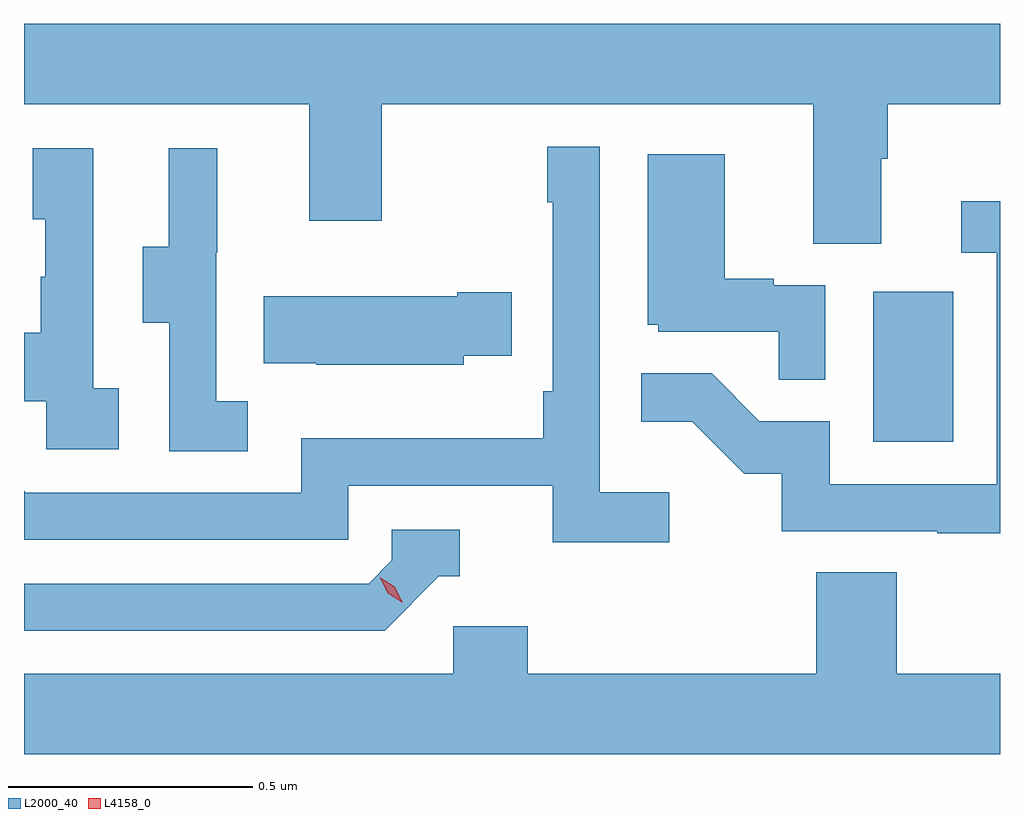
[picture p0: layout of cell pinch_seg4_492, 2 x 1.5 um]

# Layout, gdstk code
import gdstk
lib = gdstk.Library(unit=1e-6, precision=1e-09)
def R(c, l, rs):  # rectangles x0, y0, x1, y1
    for r in rs: c.add(gdstk.rectangle(r[:2], r[2:], *l))
def P(c, l, *ps):  # polygons
    for p in ps: c.add(gdstk.Polygon(p, *l))
L2000_40 = (2000, 40)
L4158_0 = (4158, 0)

pinch_seg4_492 = lib.new_cell('pinch_seg4_492')
R(pinch_seg4_492, L2000_40, [(947.468,752.172,947.632,752.479)])
P(pinch_seg4_492, L2000_40, [(947.485,752.752),(947.498,752.752),(947.498,752.864),(947.728,752.864),(947.728,753.028),(945.728,753.028),(945.728,752.864),(946.313,752.864),(946.313,752.625),(946.461,752.625),(946.461,752.864),(947.345,752.864),(947.345,752.578),(947.485,752.578)],
  [(947.05,752.068),(946.908,752.068),(946.908,752.776),(946.8,752.776),(946.8,752.663),(946.812,752.663),(946.812,752.275),(946.792,752.275),(946.792,752.179),(946.296,752.179),(946.296,752.067),(945.732,752.067),(945.728,752.071),(945.728,751.971),(946.392,751.971),(946.392,752.082),(946.811,752.082),(946.811,751.966),(947.05,751.966)],
  [(945.922,752.282),(945.87,752.282),(945.87,752.773),(945.746,752.773),(945.746,752.628),(945.772,752.628),(945.772,752.51),(945.762,752.51),(945.762,752.395),(945.728,752.395),(945.728,752.255),(945.774,752.255),(945.774,752.157),(945.922,752.157)],
  [(946.186,752.255),(946.122,752.255),(946.122,752.559),(946.124,752.559),(946.124,752.773),(946.025,752.773),(946.025,752.571),(945.971,752.571),(945.971,752.416),(946.026,752.416),(946.026,752.152),(946.186,752.152)],
  [(947.37,752.493),(947.264,752.493),(947.264,752.506),(947.164,752.506),(947.164,752.761),(947.006,752.761),(947.006,752.412),(947.028,752.412),(947.028,752.397),(947.275,752.397),(947.275,752.299),(947.37,752.299)],
  [(947.728,752.665),(947.649,752.665),(947.649,752.559),(947.721,752.559),(947.721,752.085),(947.379,752.085),(947.379,752.214),(947.235,752.214),(947.137,752.312),(946.993,752.312),(946.993,752.213),(947.097,752.213),(947.204,752.106),(947.281,752.106),(947.281,751.989),(947.599,751.989),(947.599,751.984),(947.728,751.984)],
  [(946.629,752.348),(946.727,752.348),(946.727,752.478),(946.616,752.478),(946.616,752.47),(946.219,752.47),(946.219,752.333),(946.327,752.333),(946.327,752.33),(946.629,752.33)],
  [(946.578,751.896),(946.621,751.896),(946.621,751.992),(946.482,751.992),(946.482,751.929),(946.434,751.881),(945.728,751.881),(945.728,751.785),(946.467,751.785)],
  [(947.728,751.696),(947.516,751.696),(947.516,751.904),(947.351,751.904),(947.351,751.696),(946.76,751.696),(946.76,751.794),(946.608,751.794),(946.608,751.696),(945.728,751.696),(945.728,751.532),(947.728,751.532)])
P(pinch_seg4_492, L4158_0, [(946.504,751.842),(946.473,751.861),(946.457,751.894),(946.457,751.894),(946.457,751.894),(946.488,751.875),(946.504,751.842),(946.504,751.842)])

lib.write_gds('pinch_seg4_492.gds')
